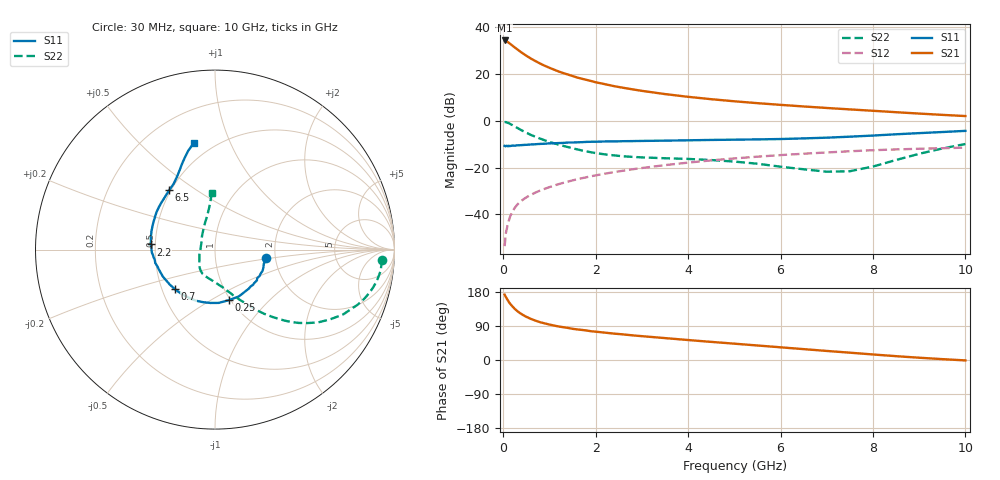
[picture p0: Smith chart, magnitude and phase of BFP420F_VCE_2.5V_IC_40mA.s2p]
! Infineon Technologies  Discrete & RF Semiconductors
! BFP420F
! VCE =  2.5 V,  IC =  40 mA
! Common Emitter S-Parameters:  Sep 2011
# GHz  S  MA  R  50
!  f  S11  S21  S12  S22
! GHz  MAG  ANG  MAG  ANG  MAG  ANG  MAG  ANG
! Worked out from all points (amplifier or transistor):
!   54 points, 30 MHz to 10 GHz, reference 50 ohm
!   highest |S21| = 34.2 dB at 30 MHz (marker M1)
!   |S21| within 3 dB of that: start of sweep to 249.8 MHz
!   unconditionally stable (mu >= 1): 1.352 GHz to end of sweep
!   at 120 MHz: K = 0.38, MSG = 38.0 dB, |S12| = -42.7 dB
!   at 1.3 GHz: K = 0.99, MSG = 23.4 dB, |S12| = -26.5 dB
!   at 10 GHz: K = 1.22, MAG = 3.9 dB, |S12| = -11.5 dB
!   S11 on the Smith chart (normalised r, x): 30 MHz: 1.79, -0.19; 250 MHz: 0.98, -0.60; 700 MHz: 0.58, -0.29; 2.2 GHz: 0.47, +0.03; 6.5 GHz: 0.49, +0.39; 10 GHz: 0.40, +0.74
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0.03  0.2895 -9.8  51.25 172.4  0.0021 92.2  0.9303 -3.4
0.07  0.2901 -24.5  49.39 163.5  0.0046 85.2  0.9205 -10.2
0.1  0.2842 -34.2  47.42 157.2  0.0062 81.4  0.8984 -14.7
0.12  0.2873 -40.7  45.84 153.4  0.0073 80.0  0.8807 -17.5
0.15  0.2877 -49.1  43.4 148.4  0.0091 78.1  0.8512 -21.2
0.2  0.2928 -63.0  39.75 141.3  0.0115 76.0  0.8005 -26.8
0.25  0.292 -75.0  36.27 134.9  0.0138 73.9  0.7491 -31.3
0.35  0.2984 -94.9  30.65 124.9  0.0179 70.6  0.6589 -38.4
0.45  0.3034 -109.6  26.15 117.2  0.0214 68.7  0.585 -43.6
0.6  0.3097 -126.7  21.01 108.4  0.0262 67.8  0.4951 -49.4
0.7  0.3138 -135.2  18.55 103.8  0.0293 67.3  0.4511 -52.5
0.9  0.3215 -147.7  14.75 96.6  0.0352 67.1  0.3799 -57.4
1.1  0.3288 -157.0  12.22 90.9  0.0412 66.9  0.3278 -62.0
1.3  0.3349 -164.3  10.32 86.5  0.0471 66.7  0.289 -66.2
1.7  0.3471 -175.0  7.824 79.4  0.059 65.8  0.2309 -74.8
2.2  0.3596 175.4  5.992 72.2  0.0738 64.2  0.1905 -86.4
3.5  0.3739 157.6  3.683 57.8  0.1124 57.8  0.1576 -109.9
5.5  0.3977 138.4  2.357 38.3  0.1702 45.3  0.1204 -136.8
6.5  0.4176 127.8  2.005 28.7  0.1968 38.5  0.0917 -161.7
7  0.4327 122.2  1.861 23.9  0.2094 35.0  0.0813 179.1
8.5  0.5113 111.1  1.512 10.1  0.2431 23.9  0.1446 114.9
10  0.6043 101.4  1.251 -1.1  0.2654 14.5  0.317 93.2
